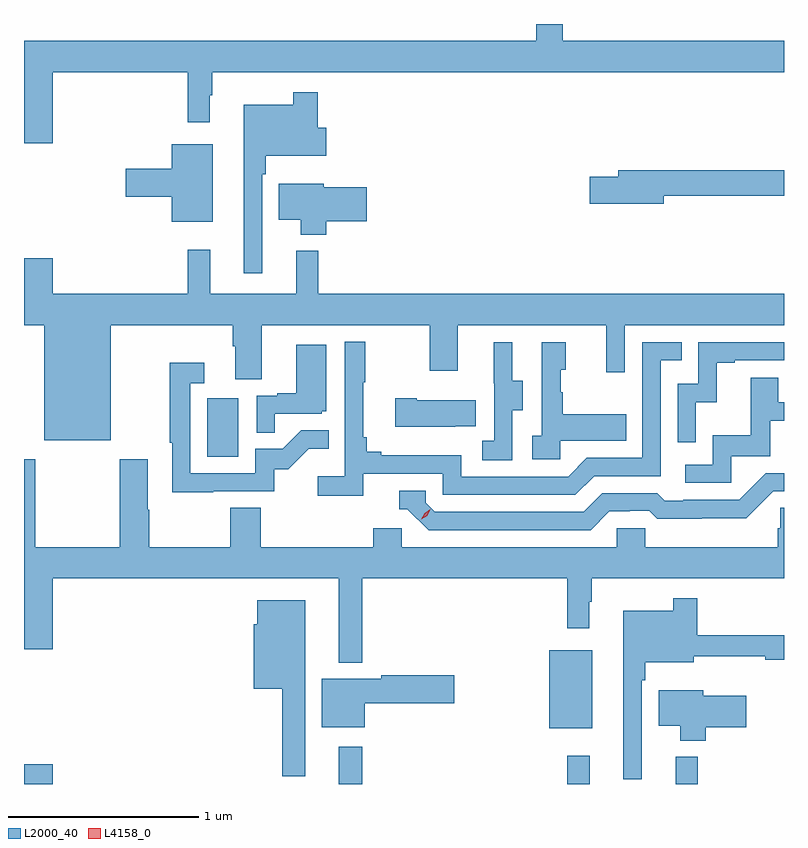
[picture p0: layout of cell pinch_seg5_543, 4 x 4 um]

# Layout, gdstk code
import gdstk
lib = gdstk.Library(unit=1e-6, precision=1e-09)
def R(c, l, rs):  # rectangles x0, y0, x1, y1
    for r in rs: c.add(gdstk.rectangle(r[:2], r[2:], *l))
def P(c, l, *ps):  # polygons
    for p in ps: c.add(gdstk.Polygon(p, *l))
L2000_40 = (2000, 40)
L4158_0 = (4158, 0)

pinch_seg5_543 = lib.new_cell('pinch_seg5_543')
R(pinch_seg5_543, L2000_40, [(992.194,851.681,992.344,851.785), (993.851,851.681,993.973,851.878), (995.053,851.681,995.171,851.83), (995.624,851.681,995.741,851.824), (994.958,851.975,995.185,852.385), (993.158,853.404,993.322,853.711)])
P(pinch_seg5_543, L2000_40, [(992.344,855.428),(993.055,855.428),(993.055,855.165),(993.172,855.165),(993.172,855.305),(993.184,855.305),(993.184,855.428),(996.194,855.428),(996.194,855.592),(995.029,855.592),(995.029,855.681),(994.889,855.681),(994.889,855.592),(992.194,855.592),(992.194,855.054),(992.344,855.054)],
  [(993.447,854.891),(993.467,854.891),(993.467,854.987),(993.784,854.987),(993.784,855.135),(993.74,855.135),(993.74,855.322),(993.612,855.322),(993.612,855.256),(993.35,855.256),(993.35,854.37),(993.447,854.37)],
  [(993.187,855.049),(992.972,855.049),(992.972,854.918),(992.73,854.918),(992.73,854.771),(992.972,854.771),(992.972,854.639),(993.187,854.639)],
  [(995.56,854.776),(996.194,854.776),(996.194,854.912),(995.321,854.912),(995.321,854.876),(995.172,854.876),(995.172,854.734),(995.56,854.734)],
  [(993.785,854.644),(993.997,854.644),(993.997,854.822),(993.772,854.822),(993.772,854.839),(993.536,854.839),(993.536,854.651),(993.65,854.651),(993.65,854.573),(993.785,854.573)],
  [(992.65,854.096),(993.293,854.096),(993.293,853.984),(993.305,853.984),(993.305,853.81),(993.445,853.81),(993.445,854.096),(994.33,854.096),(994.33,853.857),(994.477,853.857),(994.477,854.096),(995.258,854.096),(995.258,853.848),(995.355,853.848),(995.355,854.096),(996.194,854.096),(996.194,854.26),(993.743,854.26),(993.743,854.488),(993.626,854.488),(993.626,854.26),(993.173,854.26),(993.173,854.494),(993.055,854.494),(993.055,854.26),(992.344,854.26),(992.344,854.449),(992.194,854.449),(992.194,854.096),(992.3,854.096),(992.3,853.49),(992.65,853.49)],
  [(993.98,853.314),(994.398,853.314),(994.398,853.203),(995.095,853.203),(995.194,853.302),(995.544,853.302),(995.544,853.911),(995.657,853.911),(995.657,854.007),(995.448,854.007),(995.448,853.398),(995.157,853.398),(995.058,853.299),(994.494,853.299),(994.494,853.411),(994.075,853.411),(994.075,853.43),(993.998,853.43),(993.998,853.507),(993.979,853.507),(993.979,853.795),(993.991,853.795),(993.991,854.008),(993.882,854.008),(993.882,853.3),(993.741,853.3),(993.741,853.198),(993.98,853.198)],
  [(995.73,853.691),(995.84,853.691),(995.84,853.899),(995.935,853.899),(995.935,853.911),(996.194,853.911),(996.194,854.007),(995.742,854.007),(995.742,853.788),(995.634,853.788),(995.634,853.479),(995.73,853.479)],
  [(995.016,853.487),(995.363,853.487),(995.363,853.627),(995.029,853.627),(995.029,853.742),(995.019,853.742),(995.019,853.86),(995.044,853.86),(995.044,854.005),(994.92,854.005),(994.92,853.514),(994.869,853.514),(994.869,853.389),(995.016,853.389)],
  [(994.764,853.648),(994.819,853.648),(994.819,853.803),(994.765,853.803),(994.765,854.005),(994.667,854.005),(994.667,853.791),(994.668,853.791),(994.668,853.487),(994.605,853.487),(994.605,853.384),(994.764,853.384)],
  [(993.515,853.629),(993.762,853.629),(993.762,853.644),(993.784,853.644),(993.784,853.993),(993.626,853.993),(993.626,853.738),(993.527,853.738),(993.527,853.725),(993.42,853.725),(993.42,853.531),(993.515,853.531)],
  [(993.191,853.221),(993.51,853.221),(993.51,853.338),(993.586,853.338),(993.693,853.445),(993.797,853.445),(993.797,853.544),(993.653,853.544),(993.555,853.446),(993.411,853.446),(993.411,853.317),(993.069,853.317),(993.069,853.791),(993.142,853.791),(993.142,853.897),(992.961,853.897),(992.961,853.477),(992.973,853.477),(992.973,853.216),(993.191,853.216)],
  [(995.916,853.407),(996.121,853.407),(996.121,853.593),(996.194,853.593),(996.194,853.689),(996.163,853.689),(996.163,853.819),(996.019,853.819),(996.019,853.516),(995.82,853.516),(995.82,853.362),(995.673,853.362),(995.673,853.266),(995.916,853.266)],
  [(994.463,853.565),(994.571,853.565),(994.571,853.702),(994.261,853.702),(994.261,853.71),(994.149,853.71),(994.149,853.562),(994.463,853.562)],
  [(993.973,852.764),(995.053,852.764),(995.053,852.501),(995.17,852.501),(995.17,852.641),(995.182,852.641),(995.182,852.764),(996.194,852.764),(996.194,853.136),(996.175,853.136),(996.175,853.026),(996.161,853.026),(996.161,852.928),(995.463,852.928),(995.463,853.026),(995.313,853.026),(995.313,852.928),(994.182,852.928),(994.182,853.026),(994.031,853.026),(994.031,852.928),(993.44,852.928),(993.44,853.136),(993.28,853.136),(993.28,852.928),(992.853,852.928),(992.853,853.124),(992.845,853.124),(992.845,853.39),(992.698,853.39),(992.698,852.928),(992.253,852.928),(992.253,853.39),(992.194,853.39),(992.194,852.39),(992.344,852.39),(992.344,852.764),(993.851,852.764),(993.851,852.32),(993.973,852.32)],
  [(995.275,853.116),(995.382,853.116),(995.382,853.119),(995.485,853.119),(995.527,853.077),(995.76,853.077),(995.76,853.079),(995.996,853.079),(996.138,853.221),(996.194,853.221),(996.194,853.317),(996.099,853.317),(995.958,853.176),(995.665,853.176),(995.665,853.173),(995.566,853.173),(995.527,853.212),(995.238,853.212),(995.139,853.113),(994.356,853.113),(994.308,853.161),(994.308,853.224),(994.169,853.224),(994.169,853.128),(994.212,853.128),(994.323,853.017),(995.176,853.017)],
  [(995.445,852.227),(995.465,852.227),(995.465,852.323),(995.719,852.323),(995.719,852.353),(996.094,852.353),(996.094,852.334),(996.194,852.334),(996.194,852.463),(995.738,852.463),(995.738,852.658),(995.61,852.658),(995.61,852.592),(995.348,852.592),(995.348,851.706),(995.445,851.706)],
  [(993.673,852.649),(993.422,852.649),(993.422,852.522),(993.404,852.522),(993.404,852.182),(993.552,852.182),(993.552,851.721),(993.673,851.721)],
  [(993.988,852.107),(994.459,852.107),(994.459,852.254),(994.074,852.254),(994.074,852.235),(993.761,852.235),(993.761,851.981),(993.988,851.981)],
  [(995.783,851.98),(995.995,851.98),(995.995,852.145),(995.77,852.145),(995.77,852.175),(995.534,852.175),(995.534,851.987),(995.648,851.987),(995.648,851.909),(995.783,851.909)])
P(pinch_seg5_543, L4158_0, [(994.286,853.074),(994.286,853.074),(994.302,853.107),(994.332,853.127),(994.333,853.127),(994.333,853.126),(994.317,853.094),(994.286,853.074)])

lib.write_gds('pinch_seg5_543.gds')
